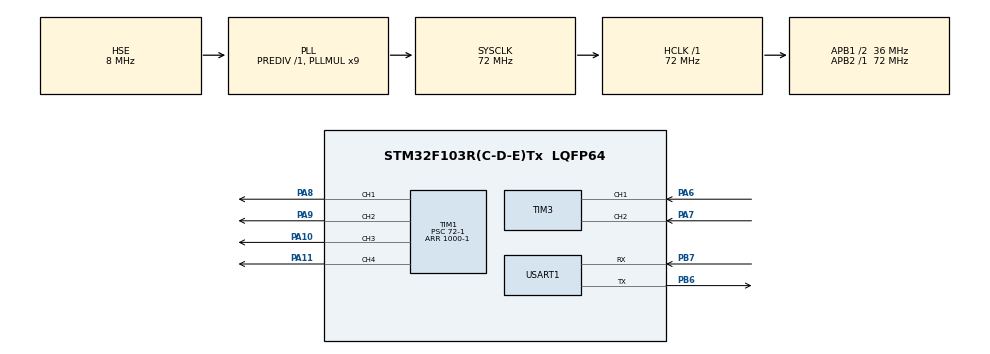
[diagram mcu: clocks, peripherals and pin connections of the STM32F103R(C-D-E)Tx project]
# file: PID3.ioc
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Mcu.Family=STM32F1
Mcu.Name=STM32F103R(C-D-E)Tx
Mcu.Package=LQFP64
NVIC.PriorityGroup=NVIC_PRIORITYGROUP_4
NVIC.TIM2_IRQn=true\:0\:0\:false\:false\:true\:true\:true\:true
PA10.Signal=S_TIM1_CH3
PA11.Signal=S_TIM1_CH4
PA13.Mode=Serial_Wire
PA13.Signal=SYS_JTMS-SWDIO
PA14.Mode=Serial_Wire
PA14.Signal=SYS_JTCK-SWCLK
PA6.Signal=S_TIM3_CH1
PA7.Signal=S_TIM3_CH2
PA8.Signal=S_TIM1_CH1
PA9.Signal=S_TIM1_CH2
PB6.Mode=Asynchronous
PB6.Signal=USART1_TX
PB7.Mode=Asynchronous
PB7.Signal=USART1_RX
PD0-OSC_IN.Mode=HSE-External-Oscillator
PD0-OSC_IN.Signal=RCC_OSC_IN
PD1-OSC_OUT.Mode=HSE-External-Oscillator
PD1-OSC_OUT.Signal=RCC_OSC_OUT
ProjectManager.HeapSize=0x200
ProjectManager.StackSize=0x400
ProjectManager.TargetToolchain=STM32CubeIDE
RCC.AHBFreq_Value=72000000
RCC.APB1CLKDivider=RCC_HCLK_DIV2
RCC.APB1Freq_Value=36000000
RCC.APB1TimFreq_Value=72000000
RCC.APB2Freq_Value=72000000
RCC.APB2TimFreq_Value=72000000
RCC.HCLKFreq_Value=72000000
RCC.PLLMUL=RCC_PLL_MUL9
RCC.PLLSourceVirtual=RCC_PLLSOURCE_HSE
RCC.SYSCLKFreq_VALUE=72000000
RCC.SYSCLKSource=RCC_SYSCLKSOURCE_PLLCLK
RCC.USBFreq_Value=72000000
SH.S_TIM1_CH1.0=TIM1_CH1,PWM Generation1 CH1
SH.S_TIM1_CH2.0=TIM1_CH2,PWM Generation2 CH2
SH.S_TIM1_CH3.0=TIM1_CH3,PWM Generation3 CH3
SH.S_TIM1_CH4.0=TIM1_CH4,PWM Generation4 CH4
SH.S_TIM3_CH1.0=TIM3_CH1,Encoder_Interface
SH.S_TIM3_CH2.0=TIM3_CH2,Encoder_Interface
TIM1.Channel-PWM\ Generation1\ CH1=TIM_CHANNEL_1
TIM1.Channel-PWM\ Generation2\ CH2=TIM_CHANNEL_2
TIM1.Channel-PWM\ Generation3\ CH3=TIM_CHANNEL_3
TIM1.Channel-PWM\ Generation4\ CH4=TIM_CHANNEL_4
TIM1.Period=1000-1
TIM1.Prescaler=72-1
TIM2.Period=10000-1
TIM2.Prescaler=72-1
TIM3.EncoderMode=TIM_ENCODERMODE_TI12
USART1.VirtualMode=VM_ASYNC
VP_TIM1_VS_ClockSourceINT.Mode=Internal
VP_TIM2_VS_ClockSourceINT.Mode=Internal
board=custom

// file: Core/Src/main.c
/* USER CODE BEGIN Header */
/**
  ******************************************************************************
  * @file           : main.c
  * @brief          : Main program body
  ******************************************************************************
  * @attention
  *
  * Copyright (c) 2023 STMicroelectronics.
  * All rights reserved.
  *
  * This software is licensed under terms that can be found in the LICENSE file
  * in the root directory of this software component.
  * If no LICENSE file comes with this software, it is provided AS-IS.
  *
  ******************************************************************************
  */
/* USER CODE END Header */
#include "main.h"
#include "tim.h"
#include "usart.h"
#include "gpio.h"

void SystemClock_Config(void);

/* USER CODE BEGIN 0 */
#define PID_MAX 1000//改成自己设定的PWM波的单波�?长输出时�?
#define PID_MIN -1000//改成自己设定的PWM波的单波�?长输出时间的相反�?
typedef struct{
  float sum;//误差关于时间的积�?
  float lr;//上一次的速度误差
  float Kp;
  float Ki;
  float Kd;}pidstr;
pidstr pidparm;//用于保存PID参数和用于计算PWM占空比的�?
float rset=3;//设置目标转�??
float pid(pidstr *a,float dr)//用于更新PWM的占空比
{
  a->sum = a->sum + dr;
  float pwm = a->Kp * dr + a->Ki * a->sum + a->Kd * (dr - a->lr);
  a->lr = dr;
  if(pwm >= PID_MAX){
    return PID_MAX;
  }
  else if(pwm <= PID_MIN)
  {
    return PID_MIN;
  }
  else
  {
    return pwm;
  }
}

void HAL_TIM_PeriodElapsedCallback(TIM_HandleTypeDef *htim){
 if(htim->Instance==TIM2)
 {
  int cnt=__HAL_TIM_GetCounter(&htim3);
  __HAL_TIM_SetCounter(&htim3, 0);
  float rnow=cnt/10.8;
  float dr=rset-rnow;
  float pwm=pid(&pidparm,dr);
  u1_printf("%f,%f\n",rnow,pwm);
  __HAL_TIM_SetCompare(&htim1,TIM_CHANNEL_1, pwm);
  }
}
/* USER CODE END 0 */

int main(void)
{

  /* MCU Configuration--------------------------------------------------------*/

  /* Reset of all peripherals, Initializes the Flash interface and the Systick. */
  HAL_Init();

  /* Configure the system clock */
  SystemClock_Config();

  /* Initialize all configured peripherals */
  MX_GPIO_Init();
  MX_TIM1_Init();
  MX_TIM2_Init();
  MX_TIM3_Init();
  MX_USART1_UART_Init();
  /* USER CODE BEGIN 2 */
  HAL_TIM_Base_Start_IT(&htim2); // 使能定时�?2
  HAL_TIM_PWM_Start(&htim1, TIM_CHANNEL_1); // 使能定定时器1的�?�道1，设定为PWM输出
  HAL_TIM_Encoder_Start(&htim3, TIM_CHANNEL_ALL); //使能编码器时�?3

  pidparm.Kd=500;
  pidparm.Ki=15;
  pidparm.Kp=500;
  pidparm.lr=0;
  pidparm.sum=0;
  /* USER CODE END 2 */

  /* Infinite loop */
  while (1)
  {

  }
}

void SystemClock_Config(void)
{
  RCC_OscInitTypeDef RCC_OscInitStruct = {0};
  RCC_ClkInitTypeDef RCC_ClkInitStruct = {0};

  /** Initializes the RCC Oscillators according to the specified parameters
  * in the RCC_OscInitTypeDef structure.
  */
  RCC_OscInitStruct.OscillatorType = RCC_OSCILLATORTYPE_HSE;
  RCC_OscInitStruct.HSEState = RCC_HSE_ON;
  RCC_OscInitStruct.HSEPredivValue = RCC_HSE_PREDIV_DIV1;
  RCC_OscInitStruct.HSIState = RCC_HSI_ON;
  RCC_OscInitStruct.PLL.PLLState = RCC_PLL_ON;
  RCC_OscInitStruct.PLL.PLLSource = RCC_PLLSOURCE_HSE;
  RCC_OscInitStruct.PLL.PLLMUL = RCC_PLL_MUL9;
  if (HAL_RCC_OscConfig(&RCC_OscInitStruct) != HAL_OK)
  {
    Error_Handler();
  }

  /** Initializes the CPU, AHB and APB buses clocks
  */
  RCC_ClkInitStruct.ClockType = RCC_CLOCKTYPE_HCLK|RCC_CLOCKTYPE_SYSCLK
                              |RCC_CLOCKTYPE_PCLK1|RCC_CLOCKTYPE_PCLK2;
  RCC_ClkInitStruct.SYSCLKSource = RCC_SYSCLKSOURCE_PLLCLK;
  RCC_ClkInitStruct.AHBCLKDivider = RCC_SYSCLK_DIV1;
  RCC_ClkInitStruct.APB1CLKDivider = RCC_HCLK_DIV2;
  RCC_ClkInitStruct.APB2CLKDivider = RCC_HCLK_DIV1;

  if (HAL_RCC_ClockConfig(&RCC_ClkInitStruct, FLASH_LATENCY_2) != HAL_OK)
  {
    Error_Handler();
  }
}

void Error_Handler(void)
{
  __disable_irq();
  while (1)
  {
  }
}
